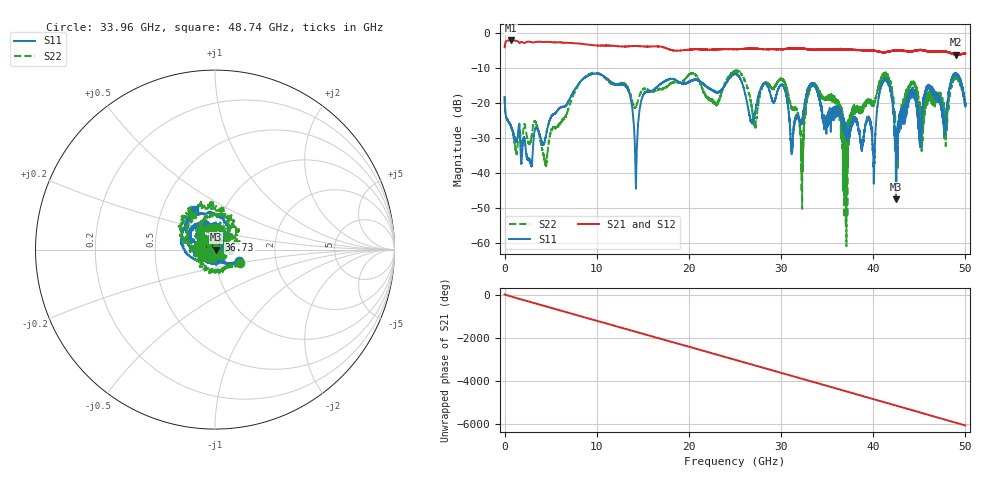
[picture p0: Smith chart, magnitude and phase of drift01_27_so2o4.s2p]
!Created with skrf (http://scikit-rf.org).
# Hz S RI R 50.0
!freq ReS11 ImS11 ReS21 ImS21 ReS12 ImS12 ReS22 ImS22
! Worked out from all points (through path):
!   10001 points, 300 kHz to 50 GHz, reference 50 ohm
!   highest |S21| = -2.00 dB at 710.3 MHz (marker M1); lowest = -6.1 dB at 48.98 GHz (marker M2)
!   group delay of S21, straight-line fit = 336 ps
!   lowest |S11| = -47.5 dB at 42.46 GHz (marker M3), VSWR 1.01, Z = 50.4 + j0.0379 ohm
!   |S11| at or under -10 dB: start of sweep to end of sweep
!   |S22| runs from -60.9 to -10.5 dB; largest |S21 - S12| = 0.02
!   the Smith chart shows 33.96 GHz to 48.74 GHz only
!   S11 on the Smith chart (normalised r, x): 33.96 GHz: 1.29, -0.17; 36.73 GHz: 1.04, +0.11; 48.74 GHz: 0.73, +0.35
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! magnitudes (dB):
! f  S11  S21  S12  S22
! 300 kHz  -18.3  -4.0  -4.0  -18.0
! 710.3 MHz  -26.6  -2.0  -2.0  -26.8
! 4.44 GHz  -29.9  -2.4  -2.4  -37.7
! 8.335 GHz  -13.5  -3.0  -3.0  -13.5
! 13.16 GHz  -15.2  -3.7  -3.7  -14.6
! 14.25 GHz  -42.8  -3.6  -3.6  -21.1
! 16.67 GHz  -15.0  -3.7  -3.7  -15.9
! 25 GHz  -11.6  -4.5  -4.6  -11.0
! 27.15 GHz  -22.6  -4.3  -4.3  -26.0
! 30.2 GHz  -15.0  -4.5  -4.5  -13.3
! 31.15 GHz  -34.6  -4.3  -4.4  -21.1
! 32.25 GHz  -24.7  -4.3  -4.3  -35.4
! 33.34 GHz  -14.3  -4.7  -4.6  -14.4
! 33.96 GHz  -16.6  -4.6  -4.7  -16.1
! 36.73 GHz  -24.6  -4.5  -4.5  -25.6
! 40.04 GHz  -38.1  -4.9  -5.0  -20.0
! 41.67 GHz  -14.3  -5.1  -5.1  -12.5
! 42.46 GHz  -47.5  -4.8  -4.8  -32.1
! 47.76 GHz  -27.3  -5.2  -5.2  -24.6
! 48.74 GHz  -12.1  -5.9  -5.9  -12.9
! 48.98 GHz  -11.6  -6.1  -6.0  -12.8
! 50 GHz  -20.1  -5.8  -5.8  -19.9
